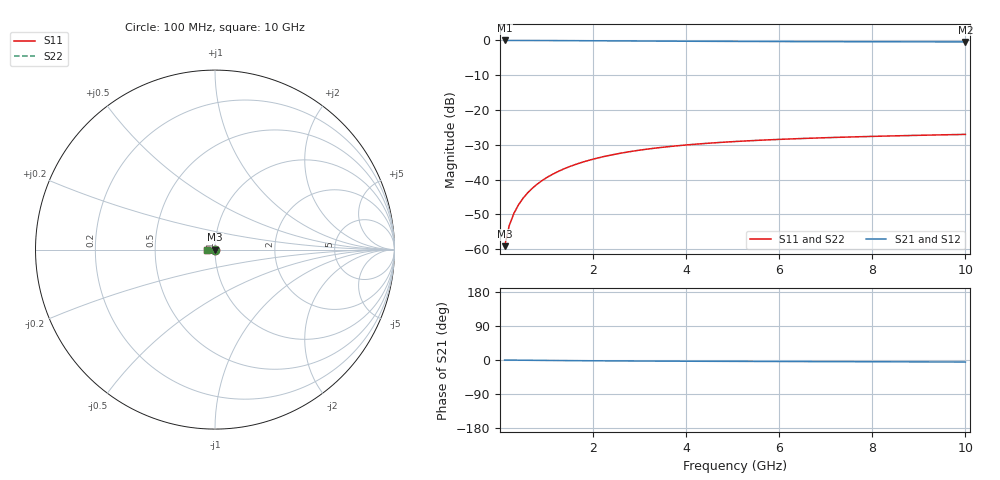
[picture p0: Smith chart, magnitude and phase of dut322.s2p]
! Touchstone file exported from HFSS 2024.1.0
!  File:  C:/UserFiles/LocalFiles/RDL_TSV_Batchsim/temp_TSV1_322_1779616988.aedt
!  Generated:  06:08:45 PM May 24, 2026
!  Design:  TSV1
!  Project:  temp_TSV1_322_1779616988
!  Setup:  Setup1
!  Solution:  Sweep
! Variables:
!  dtsv = 8.4um
!  hbump = 3um
!  htsv = 83.76um
!  lrdl = 252.1521522um
!  p = 40
!  p1 = 43.06um
!  t = 500um
!  trdl = 3um
!  wrdl = 24.89489489um
# GHz S MA R 50.000000
! Terminal data exported
! Port[1] = TSV22_T1
! Port[2] = TSV22_T2
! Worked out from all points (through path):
!   100 points, 100 MHz to 10 GHz, reference 50 ohm
!   highest |S21| = 0.00 dB at 100 MHz (marker M1); lowest = -0.4 dB at 10 GHz (marker M2)
!   lowest |S11| = -59.2 dB at 100 MHz (marker M3), VSWR 1.00, Z = 50 - j0.109 ohm
!   |S11| at or under -10 dB: start of sweep to end of sweep
!   |S22| runs from -59.2 to -27.0 dB; largest |S21 - S12| = 4.4e-15
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0.1  0.0011 -80.5  0.9998 -0.1  0.9998 -0.1  0.0011 -80.5
! Gamma 0 0 0 0
! Port Impedance 50 0 50 0
0.2  0.002178 -87.4  0.9996 -0.2  0.9996 -0.2  0.002178 -87.4
0.3  0.003263 -90.9  0.9995 -0.3  0.9995 -0.3  0.003263 -90.9
0.4  0.004344 -93.5  0.9992 -0.5  0.9992 -0.5  0.004344 -93.5
0.5  0.005418 -95.7  0.9989 -0.6  0.9989 -0.6  0.005418 -95.7
0.6  0.006482 -97.7  0.9986 -0.7  0.9986 -0.7  0.006482 -97.7
0.7  0.007535 -99.6  0.9982 -0.8  0.9982 -0.8  0.007535 -99.6
0.8  0.008574 -101.4  0.9978 -0.9  0.9978 -0.9  0.008574 -101.4
0.9  0.009599 -103.2  0.9973 -1.0  0.9973 -1.0  0.009599 -103.2
1.1  0.0116 -106.6  0.9961 -1.2  0.9961 -1.2  0.0116 -106.6
1.4  0.01446 -111.3  0.9942 -1.5  0.9942 -1.5  0.01446 -111.3
1.6  0.01626 -114.4  0.9927 -1.7  0.9927 -1.7  0.01626 -114.4
1.8  0.01798 -117.3  0.9912 -1.9  0.9912 -1.9  0.01798 -117.3
2.1  0.02038 -121.5  0.9888 -2.1  0.9888 -2.1  0.02038 -121.5
2.5  0.02328 -126.7  0.9855 -2.4  0.9855 -2.4  0.02328 -126.7
2.9  0.02584 -131.5  0.9823 -2.7  0.9823 -2.7  0.02584 -131.5
3.4  0.02861 -137.0  0.9785 -2.9  0.9785 -2.9  0.02861 -137.0
4.2  0.03221 -144.8  0.9731 -3.3  0.9731 -3.3  0.03221 -144.8
5.1  0.03533 -152.2  0.968 -3.7  0.968 -3.7  0.03533 -152.2
6.7  0.03933 -163.0  0.9613 -4.2  0.9613 -4.2  0.03933 -163.0
8.4  0.04233 -172.1  0.9565 -4.8  0.9565 -4.8  0.04233 -172.1
10  0.04456 -179.4  0.9533 -5.3  0.9533 -5.3  0.04456 -179.4
